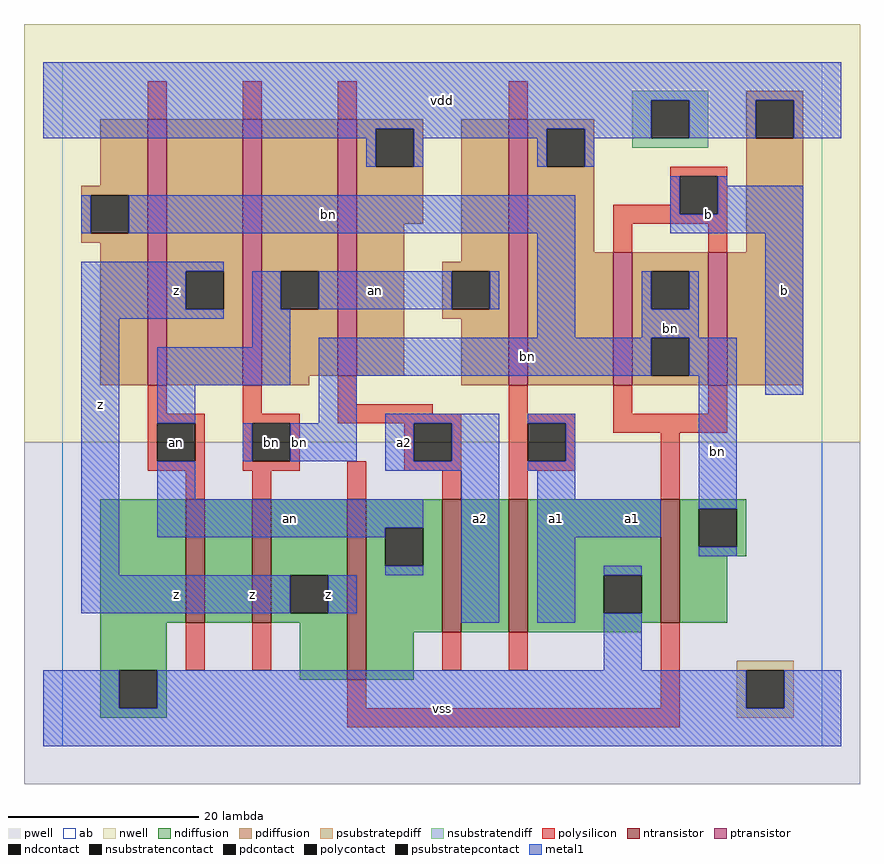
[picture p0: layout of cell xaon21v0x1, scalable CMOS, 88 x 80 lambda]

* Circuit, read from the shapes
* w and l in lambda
.subckt xaon21v0x1 a1 a2 an b bn vdd vss z
M1 n1 an vss vss nfet w=13 l=2
M2 z bn n1 vss nfet w=13 l=2
M3 an b z vss nfet w=19 l=2
M4 n2 a2 an vss nfet w=14 l=2
M5 vss a1 n2 vss nfet w=14 l=2
M6 bn b vss vss nfet w=13 l=2
M7 z an bn vdd pfet w=28 l=2
M8 an bn z vdd pfet w=28 l=2
M9 vdd a2 an vdd pfet w=27 l=2
M10 vdd a1 an vdd pfet w=28 l=2
M11 bn b vdd vdd pfet w=14 l=2 m=2
.ends

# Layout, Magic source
magic
tech scmos
<< ab >>
rect 0 0 80 72
<< pwell >>
rect -4 -4 84 32
<< nwell >>
rect -4 32 84 76
<< polysilicon >>
rect 9 66 11 70
rect 19 66 21 70
rect 29 66 31 70
rect 47 66 49 70
rect 9 35 11 38
rect 19 35 21 38
rect 29 36 31 39
rect 64 60 70 61
rect 64 57 65 60
rect 58 56 65 57
rect 69 56 70 60
rect 58 55 70 56
rect 58 52 60 55
rect 68 52 70 55
rect 29 35 39 36
rect 47 35 49 38
rect 58 35 60 38
rect 68 35 70 38
rect 9 34 15 35
rect 9 30 10 34
rect 14 30 15 34
rect 9 29 15 30
rect 19 34 25 35
rect 29 34 42 35
rect 19 30 20 34
rect 24 30 25 34
rect 36 30 37 34
rect 41 30 42 34
rect 19 29 25 30
rect 13 26 15 29
rect 20 26 22 29
rect 30 26 32 30
rect 36 29 42 30
rect 40 26 42 29
rect 47 34 54 35
rect 47 30 49 34
rect 53 30 54 34
rect 58 33 70 35
rect 47 29 54 30
rect 47 26 49 29
rect 63 26 65 33
rect 13 8 15 13
rect 20 8 22 13
rect 40 8 42 12
rect 47 8 49 12
rect 30 4 32 7
rect 63 4 65 13
rect 30 2 65 4
<< ndiffusion >>
rect 4 13 13 26
rect 15 13 20 26
rect 22 18 30 26
rect 22 14 24 18
rect 28 14 30 18
rect 22 13 30 14
rect 4 8 11 13
rect 4 4 6 8
rect 10 4 11 8
rect 25 7 30 13
rect 32 23 40 26
rect 32 19 34 23
rect 38 19 40 23
rect 32 12 40 19
rect 42 12 47 26
rect 49 18 63 26
rect 49 14 57 18
rect 61 14 63 18
rect 49 13 63 14
rect 65 25 72 26
rect 65 21 67 25
rect 71 21 72 25
rect 65 20 72 21
rect 65 13 70 20
rect 49 12 61 13
rect 32 7 37 12
rect 4 3 11 4
<< pdiffusion >>
rect 4 59 9 66
rect 2 58 9 59
rect 2 54 3 58
rect 7 54 9 58
rect 2 53 9 54
rect 4 38 9 53
rect 11 50 19 66
rect 11 46 13 50
rect 17 46 19 50
rect 11 38 19 46
rect 21 50 29 66
rect 21 46 23 50
rect 27 46 29 50
rect 21 39 29 46
rect 31 65 38 66
rect 31 61 33 65
rect 37 61 38 65
rect 31 55 38 61
rect 31 39 36 55
rect 42 51 47 66
rect 40 50 47 51
rect 40 46 41 50
rect 45 46 47 50
rect 40 45 47 46
rect 21 38 26 39
rect 42 38 47 45
rect 49 65 56 66
rect 49 61 51 65
rect 55 61 56 65
rect 72 68 78 69
rect 72 64 73 68
rect 77 64 78 68
rect 49 52 56 61
rect 72 52 78 64
rect 49 38 58 52
rect 60 50 68 52
rect 60 46 62 50
rect 66 46 68 50
rect 60 43 68 46
rect 60 39 62 43
rect 66 39 68 43
rect 60 38 68 39
rect 70 38 78 52
<< metal1 >>
rect -2 68 82 72
rect -2 65 62 68
rect -2 64 33 65
rect 32 61 33 64
rect 37 64 51 65
rect 37 61 38 64
rect 50 61 51 64
rect 55 64 62 65
rect 66 64 73 68
rect 77 64 82 68
rect 55 61 56 64
rect 2 54 3 58
rect 7 54 54 58
rect 64 56 65 60
rect 69 59 70 60
rect 69 56 78 59
rect 64 54 78 56
rect 2 50 17 51
rect 2 46 13 50
rect 2 45 17 46
rect 20 46 23 50
rect 27 46 41 50
rect 45 46 46 50
rect 2 18 6 45
rect 20 42 24 46
rect 50 43 54 54
rect 61 46 62 50
rect 66 46 67 50
rect 61 43 67 46
rect 10 38 24 42
rect 27 39 62 43
rect 66 39 71 43
rect 10 34 14 38
rect 27 34 31 39
rect 19 30 20 34
rect 24 30 31 34
rect 34 34 46 35
rect 34 30 37 34
rect 41 30 46 34
rect 10 26 14 30
rect 34 29 46 30
rect 49 34 54 35
rect 53 30 54 34
rect 49 29 54 30
rect 10 23 38 26
rect 10 22 34 23
rect 34 18 38 19
rect 2 14 24 18
rect 28 14 31 18
rect 42 13 46 29
rect 50 26 54 29
rect 50 22 63 26
rect 67 25 71 39
rect 74 37 78 54
rect 50 13 54 22
rect 67 20 71 21
rect 57 18 61 19
rect 57 8 61 14
rect -2 4 6 8
rect 10 4 72 8
rect 76 4 82 8
rect -2 0 82 4
<< ntransistor >>
rect 13 13 15 26
rect 20 13 22 26
rect 30 7 32 26
rect 40 12 42 26
rect 47 12 49 26
rect 63 13 65 26
<< ptransistor >>
rect 9 38 11 66
rect 19 38 21 66
rect 29 39 31 66
rect 47 38 49 66
rect 58 38 60 52
rect 68 38 70 52
<< polycontact >>
rect 65 56 69 60
rect 10 30 14 34
rect 20 30 24 34
rect 37 30 41 34
rect 49 30 53 34
<< ndcontact >>
rect 24 14 28 18
rect 6 4 10 8
rect 34 19 38 23
rect 57 14 61 18
rect 67 21 71 25
<< pdcontact >>
rect 3 54 7 58
rect 13 46 17 50
rect 23 46 27 50
rect 33 61 37 65
rect 41 46 45 50
rect 51 61 55 65
rect 73 64 77 68
rect 62 46 66 50
rect 62 39 66 43
<< psubstratepcontact >>
rect 72 4 76 8
<< nsubstratencontact >>
rect 62 64 66 68
<< psubstratepdiff >>
rect 71 8 77 9
rect 71 4 72 8
rect 76 4 77 8
rect 71 3 77 4
<< nsubstratendiff >>
rect 60 68 68 69
rect 60 64 62 68
rect 66 64 68 68
rect 60 63 68 64
<< labels >>
rlabel polycontact 12 32 12 32 6 an
rlabel polycontact 22 32 22 32 6 bn
rlabel metal1 12 16 12 16 6 z
rlabel metal1 4 36 4 36 6 z
rlabel polycontact 12 32 12 32 6 an
rlabel metal1 12 48 12 48 6 z
rlabel metal1 28 16 28 16 6 z
rlabel metal1 20 16 20 16 6 z
rlabel metal1 24 24 24 24 6 an
rlabel metal1 25 32 25 32 6 bn
rlabel metal1 36 32 36 32 6 a2
rlabel metal1 40 4 40 4 6 vss
rlabel metal1 44 24 44 24 6 a2
rlabel metal1 52 24 52 24 6 a1
rlabel metal1 33 48 33 48 6 an
rlabel metal1 28 56 28 56 6 bn
rlabel metal1 40 68 40 68 6 vdd
rlabel metal1 60 24 60 24 6 a1
rlabel metal1 69 31 69 31 6 bn
rlabel metal1 64 44 64 44 6 bn
rlabel metal1 49 41 49 41 6 bn
rlabel metal1 76 48 76 48 6 b
rlabel metal1 68 56 68 56 6 b
<< end >>
